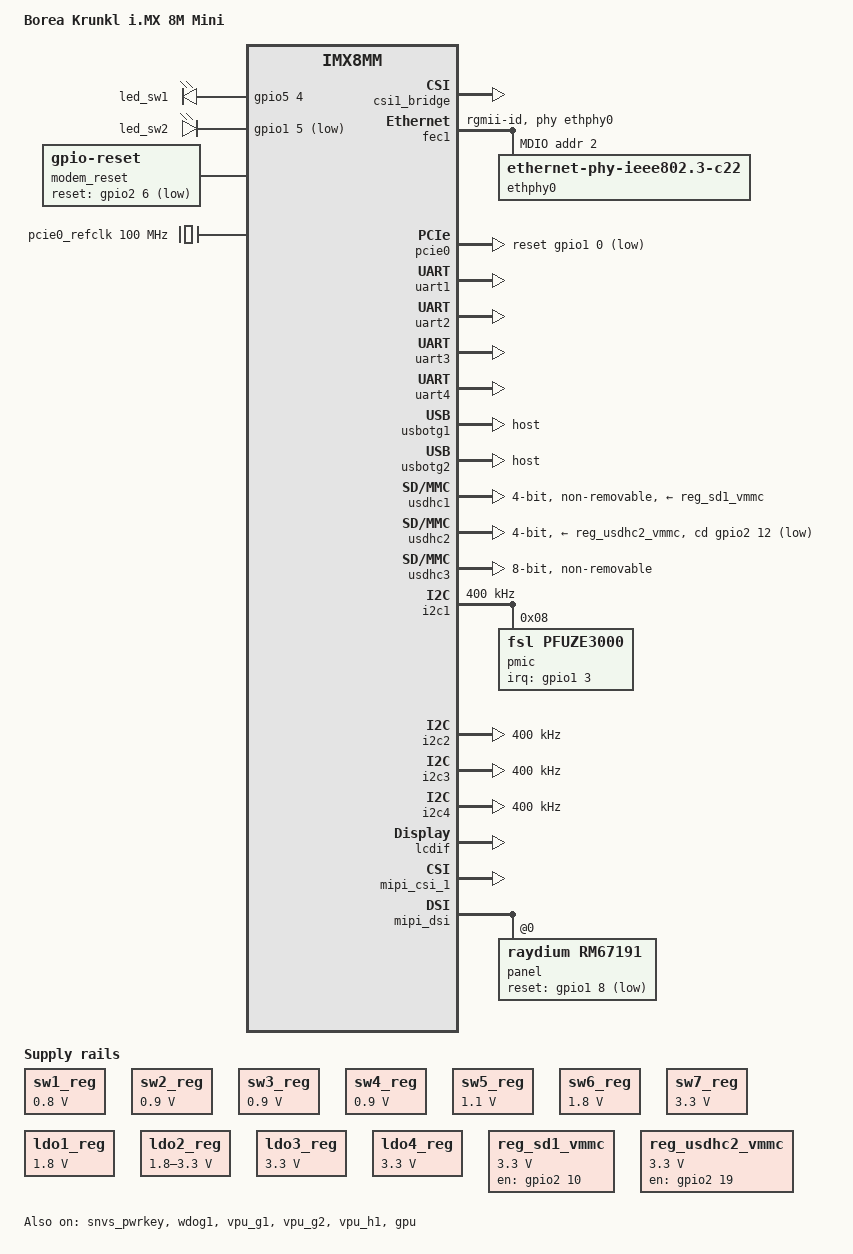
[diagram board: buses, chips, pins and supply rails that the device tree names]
// SPDX-License-Identifier: (GPL-2.0+ OR MIT)
/*
 * Copyright 2020 Borea
 */

/dts-v1/;

#include <dt-bindings/usb/pd.h>
#include "imx8mm.dtsi"

/ {
	model = "Borea Krunkl i.MX 8M Mini";
	compatible = "fsl,krunklx8mmini", "fsl,imx8mm";

	reserved-memory {
		#address-cells = <2>;
		#size-cells = <2>;
		ranges;

		rpmsg_reserved: rpmsg@0xb8000000 {
			no-map;
			reg = <0 0xb8000000 0 0x400000>;
		};
	};

	chosen {
		stdout-path = &uart1;
	};

	leds {
		compatible = "gpio-leds";
		pinctrl-names = "default";
		pinctrl-0 = <&pinctrl_gpio_led>;

		led_sw1 {
			label = "led_sw1";
			gpios = <&gpio5 4 0>;
			default-state = "on";
		};

		led_sw2 {
			label = "led_sw2";
			gpios = <&gpio1 5 5>;
			default-state = "on";
		};
	};

	modem_reset: modem-reset {
		compatible = "gpio-reset";
		reset-gpios = <&gpio2 6 GPIO_ACTIVE_LOW>;
		reset-delay-us = <2000>;
		reset-post-delay-ms = <40>;
		#reset-cells = <0>;
	};

	sw1_reg: regulator@0 {
		compatible = "regulator-fixed";
		regulator-name = "SW1";
		regulator-min-microvolt = <800000>;
		regulator-max-microvolt = <800000>;
		regulator-boot-on;
		regulator-always-on;
	};

	sw2_reg: regulator@1 {
		compatible = "regulator-fixed";
		regulator-name = "SW2";
		regulator-min-microvolt = <900000>;
		regulator-max-microvolt = <900000>;
		regulator-boot-on;
		regulator-always-on;
	};

	sw3_reg: regulator@2 {
		compatible = "regulator-fixed";
		regulator-name = "SW3";
		regulator-min-microvolt = <900000>;
		regulator-max-microvolt = <900000>;
		regulator-boot-on;
		regulator-always-on;
	};

	sw4_reg: regulator@3 {
		compatible = "regulator-fixed";
		regulator-name = "SW4";
		regulator-min-microvolt = <900000>;
		regulator-max-microvolt = <900000>;
		regulator-boot-on;
		regulator-always-on;
	};

	sw5_reg: regulator@4 {
		compatible = "regulator-fixed";
		regulator-name = "SW5";
		regulator-min-microvolt = <1100000>;
		regulator-max-microvolt = <1100000>;
		regulator-boot-on;
		regulator-always-on;
	};

	sw6_reg: regulator@5 {
		compatible = "regulator-fixed";
		regulator-name = "SW6";
		regulator-min-microvolt = <1800000>;
		regulator-max-microvolt = <1800000>;
		regulator-boot-on;
		regulator-always-on;
	};

	sw7_reg: regulator@6 {
		compatible = "regulator-fixed";
		regulator-name = "SW7";
		regulator-min-microvolt = <3300000>;
		regulator-max-microvolt = <3300000>;
		regulator-boot-on;
		regulator-always-on;
	};

	ldo1_reg: regulator@7 {
		compatible = "regulator-fixed";
		regulator-name = "LDO1";
		regulator-min-microvolt = <1800000>;
		regulator-max-microvolt = <1800000>;
		regulator-boot-on;
		regulator-always-on;
	};

	ldo2_reg: regulator@8 {
		compatible = "regulator-fixed";
		regulator-name = "LDO2";
		regulator-min-microvolt = <1800000>;
		regulator-max-microvolt = <3300000>;
		regulator-boot-on;
		regulator-always-on;
	};

	ldo3_reg: regulator@9 {
		compatible = "regulator-fixed";
		regulator-name = "LDO3";
		regulator-min-microvolt = <3300000>;
		regulator-max-microvolt = <3300000>;
		regulator-boot-on;
		regulator-always-on;
	};

	ldo4_reg: regulator@10 {
		compatible = "regulator-fixed";
		regulator-name = "LDO4";
		regulator-min-microvolt = <3300000>;
		regulator-max-microvolt = <3300000>;
		regulator-boot-on;
		regulator-always-on;
	};

	pcie0_refclk: pcie0-refclk {
		compatible = "fixed-clock";
		#clock-cells = <0>;
		clock-frequency = <100000000>;
	};

	reg_sd1_vmmc: sd1_regulator {
		compatible = "regulator-fixed";
		regulator-name = "WLAN_EN";
		regulator-min-microvolt = <3300000>;
		regulator-max-microvolt = <3300000>;
		gpio = <&gpio2 10 GPIO_ACTIVE_HIGH>;
		off-on-delay-us = <20000>;
		startup-delay-us = <100>;
		enable-active-high;
	};

	reg_usdhc2_vmmc: regulator-usdhc2 {
		compatible = "regulator-fixed";
		pinctrl-names = "default";
		pinctrl-0 = <&pinctrl_reg_usdhc2_vmmc>;
		regulator-name = "VSD_3V3";
		regulator-min-microvolt = <3300000>;
		regulator-max-microvolt = <3300000>;
		gpio = <&gpio2 19 GPIO_ACTIVE_HIGH>;
		off-on-delay-us = <20000>;
		enable-active-high;
	};
};

&A53_0 {
	cpu-supply = <&sw3_reg>;
};

&csi1_bridge {
	fsl,mipi-mode;
	status = "okay";
};

&fec1 {
	pinctrl-names = "default";
	pinctrl-0 = <&pinctrl_fec1>;
	phy-mode = "rgmii-id";
	phy-handle = <&ethphy0>;
	fsl,magic-packet;
	status = "okay";

	mdio {
		#address-cells = <1>;
		#size-cells = <0>;

		ethphy0: ethernet-phy@0 {
			compatible = "ethernet-phy-ieee802.3-c22";
			reg = <2>;
			at803x,eee-disabled;
			at803x,vddio-1p8v;
		};
	};
};

&pcie0{
	pinctrl-names = "default";
	pinctrl-0 = <&pinctrl_pcie0>;
	reset-gpio = <&gpio1 0 GPIO_ACTIVE_LOW>;
	clocks = <&clk IMX8MM_CLK_PCIE1_ROOT>,
		 <&clk IMX8MM_CLK_PCIE1_AUX>,
		 <&clk IMX8MM_CLK_PCIE1_PHY>,
		 <&pcie0_refclk>;
	clock-names = "pcie", "pcie_aux", "pcie_phy", "pcie_bus";
	ext_osc = <0>;
	reserved-region = <&rpmsg_reserved>;
	status = "okay";
};

&snvs_pwrkey {
	status = "okay";
};

&uart1 {
        pinctrl-names = "default";
        pinctrl-0 = <&pinctrl_uart1>;
        status = "okay";
};

&uart2 { /* BT */
	pinctrl-names = "default";
	assigned-clocks = <&clk IMX8MM_CLK_UART2>;
	assigned-clock-parents = <&clk IMX8MM_SYS_PLL1_80M>;
	pinctrl-0 = <&pinctrl_uart2>;
	fsl,uart-has-rtscts;
	resets = <&modem_reset>;
	status = "okay";
};

&uart3 {
        pinctrl-names = "default";
        pinctrl-0 = <&pinctrl_uart3>;
        status = "okay";
};

&uart4 { /* console */
	pinctrl-names = "default";
	pinctrl-0 = <&pinctrl_uart4>;
	status = "okay";
};

&usbotg1 {
	dr_mode = "host";
	pinctrl-names = "default";
	pinctrl-0 = <&pinctrl_usb1>;
	status = "okay";
};

&usbotg2 {
	dr_mode = "host";
	pinctrl-names = "default";
	pinctrl-0 = <&pinctrl_usb2>;
	status = "okay";
};

&usdhc1 {
	pinctrl-names = "default", "state_100mhz", "state_200mhz";
	pinctrl-0 = <&pinctrl_usdhc1>, <&pinctrl_usdhc1_gpio>;
	pinctrl-1 = <&pinctrl_usdhc1_100mhz>, <&pinctrl_usdhc1_gpio>;
	pinctrl-2 = <&pinctrl_usdhc1_200mhz>, <&pinctrl_usdhc1_gpio>;
	bus-width = <4>;
	vmmc-supply = <&reg_sd1_vmmc>;
	pm-ignore-notify;
	keep-power-in-suspend;
	non-removable;
	status = "okay";
};

&usdhc2 {
	pinctrl-names = "default", "state_100mhz", "state_200mhz";
	pinctrl-0 = <&pinctrl_usdhc2>, <&pinctrl_usdhc2_gpio>;
	pinctrl-1 = <&pinctrl_usdhc2_100mhz>, <&pinctrl_usdhc2_gpio>;
	pinctrl-2 = <&pinctrl_usdhc2_200mhz>, <&pinctrl_usdhc2_gpio>;
	cd-gpios = <&gpio2 12 GPIO_ACTIVE_LOW>;
	bus-width = <4>;
	vmmc-supply = <&reg_usdhc2_vmmc>;
	status = "okay";
};

&usdhc3 {
	pinctrl-names = "default", "state_100mhz", "state_200mhz";
	pinctrl-0 = <&pinctrl_usdhc3>;
	pinctrl-1 = <&pinctrl_usdhc3_100mhz>;
	pinctrl-2 = <&pinctrl_usdhc3_200mhz>;
	bus-width = <8>;
	non-removable;
	status = "okay";
};

&wdog1 {
	pinctrl-names = "default";
	pinctrl-0 = <&pinctrl_wdog>;
	fsl,ext-reset-output;
	status = "okay";
};

&i2c1 {
	clock-frequency = <400000>;
	pinctrl-names = "default";
	pinctrl-0 = <&pinctrl_i2c1>;
	status = "okay";

	/* TODO: compatible pf8121 */
	pmic: pmic@8 {
		compatible = "fsl,pfuze3000";
		reg = <0x08>;
		pinctrl-0 = <&pinctrl_pmic>;
		interrupt-parent = <&gpio1>;
		interrupts = <3 GPIO_ACTIVE_LOW>;
	};
};

&i2c2 {
	clock-frequency = <400000>;
	pinctrl-names = "default";
	pinctrl-0 = <&pinctrl_i2c2>;
	status = "okay";
};

&i2c3 {
	clock-frequency = <400000>;
	pinctrl-names = "default";
	pinctrl-0 = <&pinctrl_i2c3>;
	status = "okay";
};

&i2c4 {
	clock-frequency = <400000>;
	pinctrl-names = "default";
	pinctrl-0 = <&pinctrl_i2c4>;
	status = "okay";
};

&iomuxc {
	pinctrl-names = "default";

	pinctrl_fec1: fec1grp {
		fsl,pins = <
			MX8MM_IOMUXC_ENET_MDC_ENET1_MDC			0x3
			MX8MM_IOMUXC_ENET_MDIO_ENET1_MDIO		0x3
			MX8MM_IOMUXC_ENET_TD3_ENET1_RGMII_TD3		0x100
			MX8MM_IOMUXC_ENET_TD2_ENET1_RGMII_TD2		0x100
			MX8MM_IOMUXC_ENET_TD1_ENET1_RGMII_TD1		0x100
			MX8MM_IOMUXC_ENET_TD0_ENET1_RGMII_TD0		0x100
			MX8MM_IOMUXC_ENET_RD3_ENET1_RGMII_RD3		0x91
			MX8MM_IOMUXC_ENET_RD2_ENET1_RGMII_RD2		0x91
			MX8MM_IOMUXC_ENET_RD1_ENET1_RGMII_RD1		0x91
			MX8MM_IOMUXC_ENET_RD0_ENET1_RGMII_RD0		0x91
			MX8MM_IOMUXC_ENET_TXC_ENET1_RGMII_TXC		0x100
			MX8MM_IOMUXC_ENET_RXC_ENET1_RGMII_RXC		0x91
			MX8MM_IOMUXC_ENET_RX_CTL_ENET1_RGMII_RX_CTL	0x91
			MX8MM_IOMUXC_ENET_TX_CTL_ENET1_RGMII_TX_CTL	0x100
			MX8MM_IOMUXC_SAI1_RXD6_GPIO4_IO8		0x19
		>;
	};

	pinctrl_gpio_led: gpioledgrp {
		fsl,pins = <
			MX8MM_IOMUXC_SPDIF_RX_GPIO5_IO4      0x19
			MX8MM_IOMUXC_SPDIF_EXT_CLK_GPIO5_IO5      0x19
		>;
	};

	pinctrl_i2c1: i2c1grp {
		fsl,pins = <
			MX8MM_IOMUXC_I2C1_SCL_I2C1_SCL			0x000001c3
			MX8MM_IOMUXC_I2C1_SDA_I2C1_SDA			0x000001c3
		>;
	};

	pinctrl_i2c2: i2c2grp {
		fsl,pins = <
			MX8MM_IOMUXC_I2C2_SCL_I2C2_SCL                  0x000001c3
			MX8MM_IOMUXC_I2C2_SDA_I2C2_SDA                  0x000001c3
		>;
	};

	pinctrl_i2c3: i2c3grp {
		fsl,pins = <
			MX8MM_IOMUXC_I2C3_SCL_I2C3_SCL                  0x000001c3
			MX8MM_IOMUXC_I2C3_SDA_I2C3_SDA                  0x000001c3
		>;
	};

	pinctrl_i2c4: i2c4grp {
		fsl,pins = <
			MX8MM_IOMUXC_I2C4_SCL_I2C4_SCL                  0x000001c3
			MX8MM_IOMUXC_I2C4_SDA_I2C4_SDA                  0x000001c3
		>;
	};

	pinctrl_pcie0: pcie0grp {
		fsl,pins = <
			MX8MM_IOMUXC_GPIO1_IO00_GPIO1_IO0        0x41
		>;
	};

	pinctrl_pmic: pmicirq {
		fsl,pins = <
			MX8MM_IOMUXC_GPIO1_IO03_GPIO1_IO3		0x41
		>;
	};

	pinctrl_reg_usdhc2_vmmc: regusdhc2vmmc {
		fsl,pins = <
			MX8MM_IOMUXC_SD2_RESET_B_GPIO2_IO19	0x41
		>;
	};

	pinctrl_uart1: uart1grp {
		fsl,pins = <
			MX8MM_IOMUXC_UART1_RXD_UART1_DCE_RX	0x140
			MX8MM_IOMUXC_UART1_TXD_UART1_DCE_TX	0x140
		>;
	};

	/* TODO: Manka v pinctrl */
	pinctrl_uart2: uart2grp {
		fsl,pins = <
			MX8MM_IOMUXC_SAI3_TXFS_UART2_DCE_RX	0x140
			MX8MM_IOMUXC_SAI3_TXC_UART2_DCE_TX	0x140
			MX8MM_IOMUXC_SAI3_RXC_UART2_DCE_CTS_B	0x140
			MX8MM_IOMUXC_SAI3_RXD_UART2_DCE_RTS_B	0x140
			MX8MM_IOMUXC_SD1_DATA4_GPIO2_IO6        0x19
		>;
	};

	pinctrl_uart3: uart3grp {
		fsl,pins = <
			MX8MM_IOMUXC_UART3_RXD_UART3_DCE_RX		0x140
			MX8MM_IOMUXC_UART3_TXD_UART3_DCE_TX		0x140
		>;
	};

	pinctrl_uart4: uart4grp {
		fsl,pins = <
			MX8MM_IOMUXC_UART4_RXD_UART4_DCE_RX             0x140
			MX8MM_IOMUXC_UART4_TXD_UART4_DCE_TX             0x140
		>;
	};

	pinctrl_usb1: usb1grp {
		fsl,pins = <
			MX8MM_IOMUXC_GPIO1_IO12_USB1_OTG_PWR            0x140
			MX8MM_IOMUXC_GPIO1_IO13_USB1_OTG_OC             0x140
		>;
	};

        pinctrl_usb2: usb2grp {
		fsl,pins = <
			MX8MM_IOMUXC_GPIO1_IO14_USB2_OTG_PWR            0x140
			MX8MM_IOMUXC_GPIO1_IO15_USB2_OTG_OC             0x140
		>;
	};

	pinctrl_usdhc1_gpio: usdhc1grpgpio {
		fsl,pins = <
			MX8MM_IOMUXC_SD1_RESET_B_GPIO2_IO10	0x41
		>;
	};

	pinctrl_usdhc1: usdhc1grp {
		fsl,pins = <
			MX8MM_IOMUXC_SD1_CLK_USDHC1_CLK		0x192
			MX8MM_IOMUXC_SD1_CMD_USDHC1_CMD		0x1d2
			MX8MM_IOMUXC_SD1_DATA0_USDHC1_DATA0	0x1d2
			MX8MM_IOMUXC_SD1_DATA1_USDHC1_DATA1	0x1d2
			MX8MM_IOMUXC_SD1_DATA2_USDHC1_DATA2	0x1d2
			MX8MM_IOMUXC_SD1_DATA3_USDHC1_DATA3	0x1d2
		>;
	};

	pinctrl_usdhc1_100mhz: usdhc1grp100mhz {
		fsl,pins = <
			MX8MM_IOMUXC_SD1_CLK_USDHC1_CLK		0x192
			MX8MM_IOMUXC_SD1_CMD_USDHC1_CMD		0x1d2
			MX8MM_IOMUXC_SD1_DATA0_USDHC1_DATA0	0x1d2
			MX8MM_IOMUXC_SD1_DATA1_USDHC1_DATA1	0x1d2
			MX8MM_IOMUXC_SD1_DATA2_USDHC1_DATA2	0x1d2
			MX8MM_IOMUXC_SD1_DATA3_USDHC1_DATA3	0x1d2
		>;
	};

	pinctrl_usdhc1_200mhz: usdhc1grp200mhz {
		fsl,pins = <
			MX8MM_IOMUXC_SD1_CLK_USDHC1_CLK		0x192
			MX8MM_IOMUXC_SD1_CMD_USDHC1_CMD		0x1d2
			MX8MM_IOMUXC_SD1_DATA0_USDHC1_DATA0	0x1d2
			MX8MM_IOMUXC_SD1_DATA1_USDHC1_DATA1	0x1d2
			MX8MM_IOMUXC_SD1_DATA2_USDHC1_DATA2	0x1d2
			MX8MM_IOMUXC_SD1_DATA3_USDHC1_DATA3	0x1d2
		>;
	};

	pinctrl_usdhc2_gpio: usdhc2grpgpio {
		fsl,pins = <
			MX8MM_IOMUXC_SD2_CD_B_GPIO2_IO12        0x1c4
		>;
	};

	pinctrl_usdhc2: usdhc2grp {
		fsl,pins = <
			MX8MM_IOMUXC_SD2_CLK_USDHC2_CLK		0x194
			MX8MM_IOMUXC_SD2_CMD_USDHC2_CMD		0x1d4
			MX8MM_IOMUXC_SD2_DATA0_USDHC2_DATA0	0x1d4
			MX8MM_IOMUXC_SD2_DATA1_USDHC2_DATA1	0x1d4
			MX8MM_IOMUXC_SD2_DATA2_USDHC2_DATA2	0x1d4
			MX8MM_IOMUXC_SD2_DATA3_USDHC2_DATA3	0x1d4
			MX8MM_IOMUXC_GPIO1_IO04_USDHC2_VSELECT	0x1d0
		>;
	};

	pinctrl_usdhc2_100mhz: usdhc2grp100mhz {
		fsl,pins = <
			MX8MM_IOMUXC_SD2_CLK_USDHC2_CLK		0x194
			MX8MM_IOMUXC_SD2_CMD_USDHC2_CMD		0x1d4
			MX8MM_IOMUXC_SD2_DATA0_USDHC2_DATA0	0x1d4
			MX8MM_IOMUXC_SD2_DATA1_USDHC2_DATA1	0x1d4
			MX8MM_IOMUXC_SD2_DATA2_USDHC2_DATA2	0x1d4
			MX8MM_IOMUXC_SD2_DATA3_USDHC2_DATA3	0x1d4
			MX8MM_IOMUXC_GPIO1_IO04_USDHC2_VSELECT	0x1d0
		>;
	};

	pinctrl_usdhc2_200mhz: usdhc2grp200mhz {
		fsl,pins = <
			MX8MM_IOMUXC_SD2_CLK_USDHC2_CLK		0x194
			MX8MM_IOMUXC_SD2_CMD_USDHC2_CMD		0x1d4
			MX8MM_IOMUXC_SD2_DATA0_USDHC2_DATA0	0x1d4
			MX8MM_IOMUXC_SD2_DATA1_USDHC2_DATA1	0x1d4
			MX8MM_IOMUXC_SD2_DATA2_USDHC2_DATA2	0x1d4
			MX8MM_IOMUXC_SD2_DATA3_USDHC2_DATA3	0x1d4
			MX8MM_IOMUXC_GPIO1_IO04_USDHC2_VSELECT	0x1d0
		>;
	};

	pinctrl_usdhc3: usdhc3grp {
		fsl,pins = <
			MX8MM_IOMUXC_NAND_WE_B_USDHC3_CLK		0x192
			MX8MM_IOMUXC_NAND_WP_B_USDHC3_CMD		0x1d2
			MX8MM_IOMUXC_NAND_DATA04_USDHC3_DATA0		0x1d4
			MX8MM_IOMUXC_NAND_DATA05_USDHC3_DATA1		0x1d4
			MX8MM_IOMUXC_NAND_DATA06_USDHC3_DATA2		0x1d4
			MX8MM_IOMUXC_NAND_DATA07_USDHC3_DATA3		0x1d4
			MX8MM_IOMUXC_NAND_RE_B_USDHC3_DATA4		0x1d4
			MX8MM_IOMUXC_NAND_CE2_B_USDHC3_DATA5		0x1d4
			MX8MM_IOMUXC_NAND_CE3_B_USDHC3_DATA6		0x1d4
			MX8MM_IOMUXC_NAND_CLE_USDHC3_DATA7		0x1d4
			MX8MM_IOMUXC_NAND_CE1_B_USDHC3_STROBE		0x190
		>;
	};

	pinctrl_usdhc3_100mhz: usdhc3grp100mhz {
		fsl,pins = <
			MX8MM_IOMUXC_NAND_WE_B_USDHC3_CLK		0x192
			MX8MM_IOMUXC_NAND_WP_B_USDHC3_CMD		0x1d2
			MX8MM_IOMUXC_NAND_DATA04_USDHC3_DATA0		0x1d4
			MX8MM_IOMUXC_NAND_DATA05_USDHC3_DATA1		0x1d4
			MX8MM_IOMUXC_NAND_DATA06_USDHC3_DATA2		0x1d4
			MX8MM_IOMUXC_NAND_DATA07_USDHC3_DATA3		0x1d4
			MX8MM_IOMUXC_NAND_RE_B_USDHC3_DATA4		0x1d4
			MX8MM_IOMUXC_NAND_CE2_B_USDHC3_DATA5		0x1d4
			MX8MM_IOMUXC_NAND_CE3_B_USDHC3_DATA6		0x1d4
			MX8MM_IOMUXC_NAND_CLE_USDHC3_DATA7		0x1d4
			MX8MM_IOMUXC_NAND_CE1_B_USDHC3_STROBE		0x194
		>;
	};

	pinctrl_usdhc3_200mhz: usdhc3grp200mhz {
		fsl,pins = <
			MX8MM_IOMUXC_NAND_WE_B_USDHC3_CLK		0x192
			MX8MM_IOMUXC_NAND_WP_B_USDHC3_CMD		0x1d2
			MX8MM_IOMUXC_NAND_DATA04_USDHC3_DATA0		0x1d4
			MX8MM_IOMUXC_NAND_DATA05_USDHC3_DATA1		0x1d4
			MX8MM_IOMUXC_NAND_DATA06_USDHC3_DATA2		0x1d4
			MX8MM_IOMUXC_NAND_DATA07_USDHC3_DATA3		0x1d4
			MX8MM_IOMUXC_NAND_RE_B_USDHC3_DATA4		0x1d4
			MX8MM_IOMUXC_NAND_CE2_B_USDHC3_DATA5		0x1d4
			MX8MM_IOMUXC_NAND_CE3_B_USDHC3_DATA6		0x1d4
			MX8MM_IOMUXC_NAND_CLE_USDHC3_DATA7		0x1d4
			MX8MM_IOMUXC_NAND_CE1_B_USDHC3_STROBE		0x196
		>;
	};

	pinctrl_mipi_dsi_en: mipi_dsi_en {
		fsl,pins = <
			MX8MM_IOMUXC_GPIO1_IO08_GPIO1_IO8               0x16
		>;
	};


	pinctrl_wdog: wdoggrp {
		fsl,pins = <
			MX8MM_IOMUXC_GPIO1_IO02_WDOG1_WDOG_B	0xc6
		>;
	};
};

&lcdif {
	status = "okay";
};

&mipi_csi_1 {
	#address-cells = <1>;
	#size-cells = <0>;
	status = "okay";
};


&mipi_dsi {
	status = "okay";
	panel@0 {
		compatible = "raydium,rm67191";
		reg = <0>;
		pinctrl-0 = <&pinctrl_mipi_dsi_en>;
		reset-gpio = <&gpio1 8 GPIO_ACTIVE_LOW>;
		dsi-lanes = <4>;
		video-mode = <2>;
		panel-width-mm = <68>;
		panel-height-mm = <121>;
		status = "okay";
	};
};

&vpu_g1 {
	status = "okay";
};

&vpu_g2 {
	status = "okay";
};

&vpu_h1 {
	status = "okay";
};

&gpu {
	status = "okay";
};
